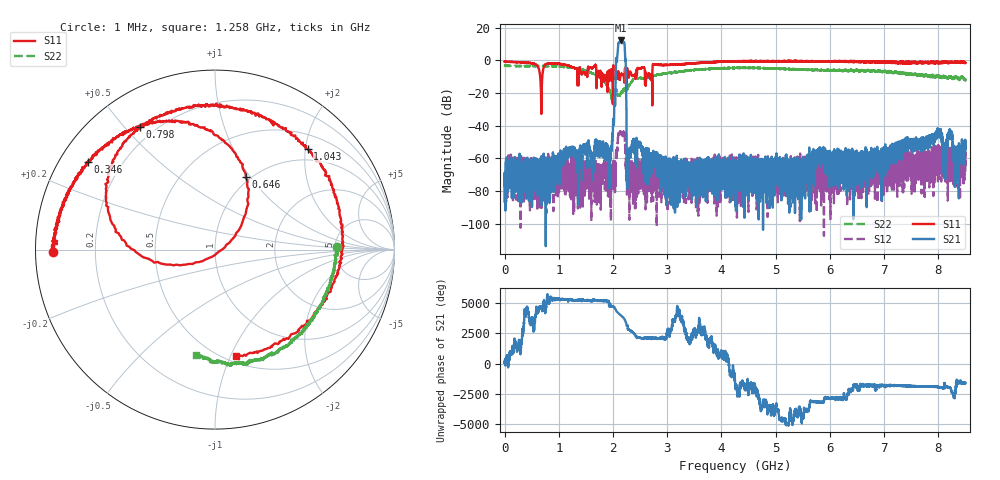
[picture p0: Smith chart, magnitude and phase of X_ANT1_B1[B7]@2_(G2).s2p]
#  HZ  S  RI  R  50.00
! Rohde & Schwarz Vector Network Analyzer
! Rohde-Schwarz,ZNBT8-20Port,1318700624101681,3.50
! Created: UTC 7/15/2025, 2:12:45 PM
! freq[Hz]  re:S1010  im:S1010  re:S0510  im:S0510  re:S1005  im:S1005  re:S55  im:S55
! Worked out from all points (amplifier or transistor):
!   8500 points, 1 MHz to 8.5 GHz, reference 50 ohm
!   highest |S21| = 12.1 dB at 2.142 GHz (marker M1)
!   |S21| within 3 dB of that: 2.095 GHz to 2.215 GHz (120.2 MHz wide, 5.58 % of centre)
!   unconditionally stable (mu >= 1): start of sweep to end of sweep
!   at 1.417 GHz: K = 1280435.13, MAG = -54.6 dB, |S12| = -75.7 dB
!   at 4.251 GHz: K = 100030.33, MAG = -50.7 dB, |S12| = -66.4 dB
!   at 8.5 GHz: K = 204755.43, MAG = -49.0 dB, |S12| = -68.6 dB
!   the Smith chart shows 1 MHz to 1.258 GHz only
!   S11 on the Smith chart (normalised r, x): 1 MHz: 0.05, -0.01; 346 MHz: 0.08, +0.31; 646 MHz: 0.95, +0.96; 798 MHz: 0.14, +0.55; 1.043 GHz: 0.77, +2.05; 1.258 GHz: 0.56, -1.05
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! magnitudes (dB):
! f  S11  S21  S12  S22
! 1 MHz  -0.9  -75.9  -70.6  -3.3
! 346 MHz  -1.3  -76.8  -69.3  -3.5
! 646 MHz  -7.1  -63.9  -67.2  -3.5
! 798 MHz  -1.9  -66.0  -70.9  -3.6
! 1.043 GHz  -2.4  -64.9  -76.0  -3.9
! 1.258 GHz  -4.4  -54.8  -78.0  -4.5
! 1.418 GHz  -8.3  -57.8  -77.6  -5.6
! 1.948 GHz  -10.1  -58.1  -79.8  -19.6
! 2.088 GHz  -9.1  6.4  -50.7  -20.9
! 2.142 GHz  -9.2  12.1  -43.7  -20.0
! 2.205 GHz  -11.6  10.7  -45.3  -17.5
! 2.293 GHz  -10.0  -56.0  -63.4  -15.4
! 2.397 GHz  -8.8  -52.4  -63.7  -10.5
! 2.834 GHz  -2.8  -65.3  -65.7  -8.9
! 4.251 GHz  -0.6  -61.7  -66.4  -4.6
! 5.667 GHz  -0.4  -60.3  -64.9  -6.0
! 7.084 GHz  -1.1  -59.9  -61.3  -6.8
! 8.011 GHz  -1.4  -44.2  -66.0  -9.4
! 8.125 GHz  -0.9  -56.2  -56.6  -10.3
! 8.222 GHz  -1.2  -45.0  -57.7  -10.1
! 8.329 GHz  -0.9  -59.8  -55.2  -10.2
! 8.5 GHz  -1.6  -54.3  -68.6  -11.6
